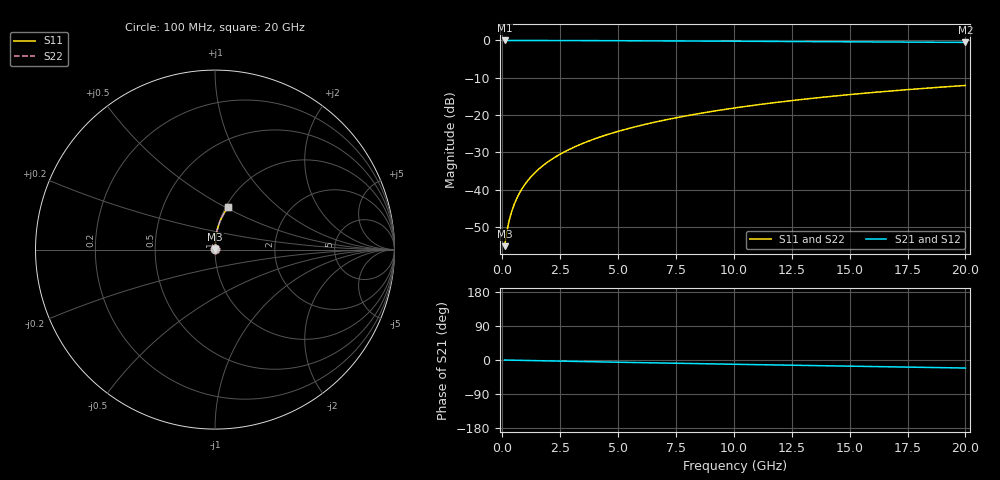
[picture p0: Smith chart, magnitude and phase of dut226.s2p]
! Touchstone file exported from HFSS 2024.1.0
!  File:  C:/UserFiles/LocalFiles/RDL_TSV_Batchsim/temp_RDL_top_226_1778687958.aedt
!  Generated:  12:01:39 AM May 14, 2026
!  Design:  RDL_top
!  Project:  temp_RDL_top_226_1778687958
!  Setup:  Setup1
!  Solution:  Sweep
! Variables:
!  dtsv = 10.80580581um
!  hbump = 3um
!  htsv = 86.11um
!  ldown = 100um
!  lrdl = 246.3um
!  p = 40
!  p1 = 55.13um
!  rhole = 1um
!  t = 450um
!  tdown = 3.915915916um
!  trdl = 4.49um
!  wdown = 15.38538539um
!  wrdl = 18.17um
# GHz S MA R 50.000000
! Terminal data exported
! Port[1] = Box2_T1
! Port[2] = Box2_T2
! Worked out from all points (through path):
!   200 points, 100 MHz to 20 GHz, reference 50 ohm
!   highest |S21| = -0.01 dB at 100 MHz (marker M1); lowest = -0.5 dB at 20 GHz (marker M2)
!   group delay of S21, straight-line fit = 2.92 ps
!   lowest |S11| = -55.2 dB at 100 MHz (marker M3), VSWR 1.00, Z = 50.1 + j0.125 ohm
!   |S11| at or under -10 dB: start of sweep to end of sweep
!   |S22| runs from -55.2 to -12.1 dB; largest |S21 - S12| = 2.6e-15
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0.1  0.001745 45.8  0.9988 -0.1  0.9988 -0.1  0.001745 45.8
! Gamma 0 0 0 0
! Port Impedance 50 0 50 0
0.2  0.002774 62.9  0.9987 -0.2  0.9987 -0.2  0.002774 62.9
0.3  0.003887 70.3  0.9987 -0.4  0.9987 -0.4  0.003887 70.3
0.4  0.005024 74.5  0.9986 -0.5  0.9986 -0.5  0.005024 74.5
0.5  0.006174 77.2  0.9985 -0.6  0.9985 -0.6  0.006174 77.2
0.6  0.007334 79.1  0.9985 -0.7  0.9985 -0.7  0.007334 79.1
0.8  0.009671 81.5  0.9983 -1.0  0.9983 -1.0  0.009671 81.5
1.1  0.0132 83.5  0.9981 -1.3  0.9981 -1.3  0.0132 83.5
1.5  0.01794 84.9  0.9977 -1.8  0.9977 -1.8  0.01794 84.9
1.8  0.02151 85.5  0.9974 -2.2  0.9974 -2.2  0.02151 85.5
2.1  0.02509 85.9  0.997 -2.5  0.997 -2.5  0.02509 85.9
2.7  0.03228 86.3  0.996 -3.2  0.996 -3.2  0.03228 86.3
3.5  0.04194 86.4  0.9945 -4.2  0.9945 -4.2  0.04194 86.4
4.2  0.05048 86.4  0.9929 -5.0  0.9929 -5.0  0.05048 86.4
5  0.06034 86.1  0.9909 -5.9  0.9909 -5.9  0.06034 86.2
5.9  0.07156 85.7  0.9884 -6.9  0.9884 -6.9  0.07157 85.8
6.8  0.08291 85.2  0.9858 -7.9  0.9858 -7.9  0.08292 85.2
8.4  0.1033 84.1  0.9809 -9.6  0.9809 -9.6  0.1033 84.1
10.1  0.1252 82.6  0.9754 -11.4  0.9754 -11.4  0.1252 82.6
13.4  0.1676 79.4  0.9644 -14.7  0.9644 -14.7  0.1676 79.4
16.7  0.2091 76.0  0.9528 -18.0  0.9528 -18.0  0.2091 76.0
20  0.249 72.6  0.9405 -21.2  0.9405 -21.2  0.249 72.6
